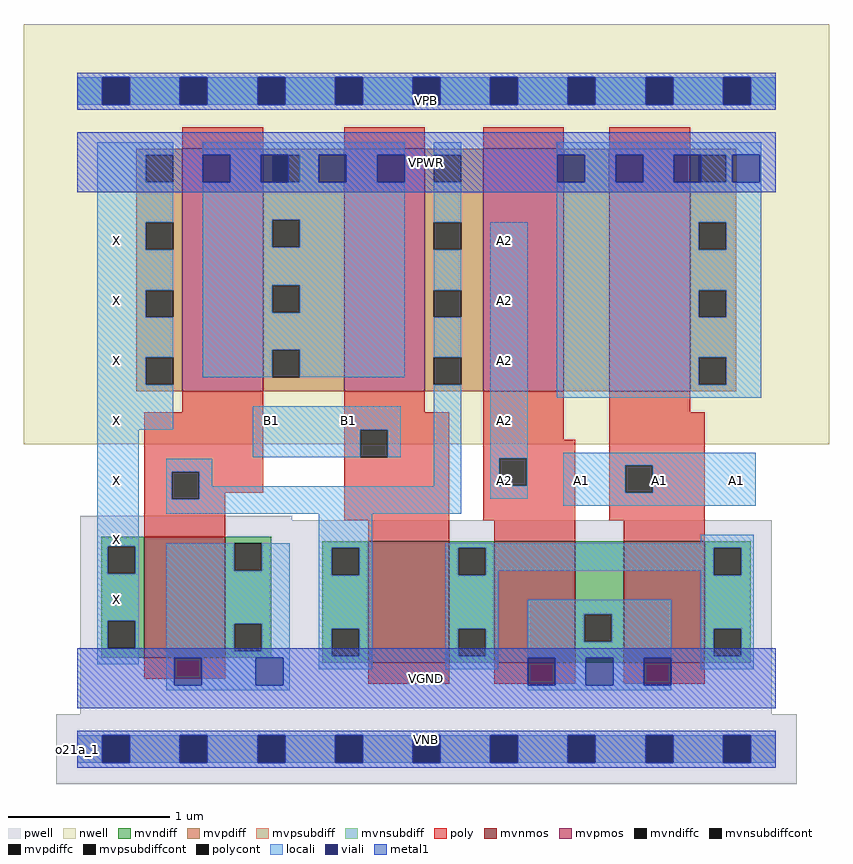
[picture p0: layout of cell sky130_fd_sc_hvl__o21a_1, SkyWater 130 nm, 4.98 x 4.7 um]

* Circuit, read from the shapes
.subckt sky130_fd_sc_hvl__o21a_1 A1 A2 B1 VGND VNB VPB VPWR X
XM1 VGND n1 X VNB sky130_fd_pr__nfet_g5v0d10v5 w=0.75 l=0.5
XM2 n2 B1 n1 VNB sky130_fd_pr__nfet_g5v0d10v5 w=0.75 l=0.5
XM3 VGND A2 n2 VNB sky130_fd_pr__nfet_g5v0d10v5 w=0.75 l=0.5
XM4 n2 A1 VGND VNB sky130_fd_pr__nfet_g5v0d10v5 w=0.75 l=0.5
XM5 VPWR n1 X VPB sky130_fd_pr__pfet_g5v0d10v5 w=1.5 l=0.5
XM6 n1 B1 VPWR VPB sky130_fd_pr__pfet_g5v0d10v5 w=1.5 l=0.5
XM7 n3 A2 n1 VPB sky130_fd_pr__pfet_g5v0d10v5 w=1.5 l=0.5
XM8 VPWR A1 n3 VPB sky130_fd_pr__pfet_g5v0d10v5 w=1.5 l=0.5
.ends

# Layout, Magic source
magic
tech sky130B
magscale 1 2
<< nwell >>
rect -66 377 930 897
<< pwell >>
rect 4 283 266 289
rect 4 43 859 283
rect -26 -43 890 43
<< mvnmos >>
rect 83 113 183 263
rect 360 107 460 257
rect 516 107 616 257
rect 676 107 776 257
<< mvpmos >>
rect 130 443 230 743
rect 330 443 430 743
rect 502 443 602 743
rect 658 443 758 743
<< mvndiff >>
rect 30 251 83 263
rect 30 217 38 251
rect 72 217 83 251
rect 30 159 83 217
rect 30 125 38 159
rect 72 125 83 159
rect 30 113 83 125
rect 183 255 240 263
rect 183 221 194 255
rect 228 221 240 255
rect 183 155 240 221
rect 183 121 194 155
rect 228 121 240 155
rect 183 113 240 121
rect 303 249 360 257
rect 303 215 315 249
rect 349 215 360 249
rect 303 149 360 215
rect 303 115 315 149
rect 349 115 360 149
rect 303 107 360 115
rect 460 249 516 257
rect 460 215 471 249
rect 505 215 516 249
rect 460 149 516 215
rect 460 115 471 149
rect 505 115 516 149
rect 460 107 516 115
rect 616 167 676 257
rect 616 133 627 167
rect 661 133 676 167
rect 616 107 676 133
rect 776 249 833 257
rect 776 215 787 249
rect 821 215 833 249
rect 776 149 833 215
rect 776 115 787 149
rect 821 115 833 149
rect 776 107 833 115
<< mvpdiff >>
rect 73 735 130 743
rect 73 701 85 735
rect 119 701 130 735
rect 73 652 130 701
rect 73 618 85 652
rect 119 618 130 652
rect 73 568 130 618
rect 73 534 85 568
rect 119 534 130 568
rect 73 485 130 534
rect 73 451 85 485
rect 119 451 130 485
rect 73 443 130 451
rect 230 735 330 743
rect 230 701 241 735
rect 275 701 330 735
rect 230 655 330 701
rect 230 621 241 655
rect 275 621 330 655
rect 230 574 330 621
rect 230 540 241 574
rect 275 540 330 574
rect 230 494 330 540
rect 230 460 241 494
rect 275 460 330 494
rect 230 443 330 460
rect 430 735 502 743
rect 430 701 441 735
rect 475 701 502 735
rect 430 652 502 701
rect 430 618 441 652
rect 475 618 502 652
rect 430 568 502 618
rect 430 534 441 568
rect 475 534 502 568
rect 430 485 502 534
rect 430 451 441 485
rect 475 451 502 485
rect 430 443 502 451
rect 602 443 658 743
rect 758 735 815 743
rect 758 701 769 735
rect 803 701 815 735
rect 758 652 815 701
rect 758 618 769 652
rect 803 618 815 652
rect 758 568 815 618
rect 758 534 769 568
rect 803 534 815 568
rect 758 485 815 534
rect 758 451 769 485
rect 803 451 815 485
rect 758 443 815 451
<< mvndiffc >>
rect 38 217 72 251
rect 38 125 72 159
rect 194 221 228 255
rect 194 121 228 155
rect 315 215 349 249
rect 315 115 349 149
rect 471 215 505 249
rect 471 115 505 149
rect 627 133 661 167
rect 787 215 821 249
rect 787 115 821 149
<< mvpdiffc >>
rect 85 701 119 735
rect 85 618 119 652
rect 85 534 119 568
rect 85 451 119 485
rect 241 701 275 735
rect 241 621 275 655
rect 241 540 275 574
rect 241 460 275 494
rect 441 701 475 735
rect 441 618 475 652
rect 441 534 475 568
rect 441 451 475 485
rect 769 701 803 735
rect 769 618 803 652
rect 769 534 803 568
rect 769 451 803 485
<< mvpsubdiff >>
rect 0 -17 31 17
rect 65 -17 127 17
rect 161 -17 223 17
rect 257 -17 319 17
rect 353 -17 415 17
rect 449 -17 511 17
rect 545 -17 607 17
rect 641 -17 703 17
rect 737 -17 799 17
rect 833 -17 864 17
<< mvnsubdiff >>
rect 0 797 31 831
rect 65 797 127 831
rect 161 797 223 831
rect 257 797 319 831
rect 353 797 415 831
rect 449 797 511 831
rect 545 797 607 831
rect 641 797 703 831
rect 737 797 799 831
rect 833 797 864 831
<< mvpsubdiffcont >>
rect 31 -17 65 17
rect 127 -17 161 17
rect 223 -17 257 17
rect 319 -17 353 17
rect 415 -17 449 17
rect 511 -17 545 17
rect 607 -17 641 17
rect 703 -17 737 17
rect 799 -17 833 17
<< mvnsubdiffcont >>
rect 31 797 65 831
rect 127 797 161 831
rect 223 797 257 831
rect 319 797 353 831
rect 415 797 449 831
rect 511 797 545 831
rect 607 797 641 831
rect 703 797 737 831
rect 799 797 833 831
<< poly >>
rect 130 743 230 769
rect 330 743 430 769
rect 502 743 602 769
rect 658 743 758 769
rect 130 417 230 443
rect 83 343 230 417
rect 83 309 117 343
rect 151 317 230 343
rect 330 417 430 443
rect 330 395 460 417
rect 330 361 350 395
rect 384 361 460 395
rect 151 309 183 317
rect 83 263 183 309
rect 330 283 460 361
rect 502 383 602 443
rect 658 417 758 443
rect 502 360 616 383
rect 502 326 522 360
rect 556 326 616 360
rect 502 283 616 326
rect 658 351 776 417
rect 658 317 678 351
rect 712 317 776 351
rect 658 283 776 317
rect 360 257 460 283
rect 516 257 616 283
rect 676 257 776 283
rect 83 87 183 113
rect 360 81 460 107
rect 516 81 616 107
rect 676 81 776 107
<< polycont >>
rect 117 309 151 343
rect 350 361 384 395
rect 522 326 556 360
rect 678 317 712 351
<< locali >>
rect 0 797 31 831
rect 65 797 127 831
rect 161 797 223 831
rect 257 797 319 831
rect 353 797 415 831
rect 449 797 511 831
rect 545 797 607 831
rect 641 797 703 831
rect 737 797 799 831
rect 833 797 864 831
rect 25 735 119 751
rect 25 701 85 735
rect 25 652 119 701
rect 25 618 85 652
rect 25 568 119 618
rect 25 534 85 568
rect 25 485 119 534
rect 25 451 85 485
rect 155 735 405 751
rect 189 701 227 735
rect 275 701 299 735
rect 333 701 371 735
rect 155 655 405 701
rect 155 621 241 655
rect 275 621 405 655
rect 155 574 405 621
rect 155 540 241 574
rect 275 540 405 574
rect 155 494 405 540
rect 155 460 241 494
rect 275 460 405 494
rect 441 735 475 751
rect 441 652 475 701
rect 593 735 846 751
rect 593 701 594 735
rect 628 701 666 735
rect 700 701 738 735
rect 803 701 810 735
rect 844 701 846 735
rect 593 652 846 701
rect 441 568 475 618
rect 441 485 475 534
rect 25 395 119 451
rect 217 395 400 424
rect 25 251 76 395
rect 217 361 350 395
rect 384 361 400 395
rect 110 343 167 359
rect 110 309 117 343
rect 151 325 167 343
rect 441 325 475 451
rect 151 309 475 325
rect 511 360 557 652
rect 593 618 769 652
rect 803 618 846 652
rect 593 568 846 618
rect 593 534 769 568
rect 803 534 846 568
rect 593 485 846 534
rect 593 451 769 485
rect 803 451 846 485
rect 593 435 846 451
rect 511 326 522 360
rect 556 326 557 360
rect 511 310 557 326
rect 601 351 839 367
rect 601 317 678 351
rect 712 317 839 351
rect 110 291 475 309
rect 601 301 839 317
rect 25 217 38 251
rect 72 217 76 251
rect 25 159 76 217
rect 25 125 38 159
rect 72 125 76 159
rect 25 105 76 125
rect 110 221 194 255
rect 228 221 263 255
rect 110 155 263 221
rect 110 121 194 155
rect 228 121 263 155
rect 110 113 263 121
rect 110 79 120 113
rect 154 79 221 113
rect 255 79 263 113
rect 299 249 365 291
rect 771 255 837 265
rect 299 215 315 249
rect 349 215 365 249
rect 299 149 365 215
rect 299 115 315 149
rect 349 115 365 149
rect 299 99 365 115
rect 455 249 837 255
rect 455 215 471 249
rect 505 221 787 249
rect 505 215 521 221
rect 455 149 521 215
rect 771 215 787 221
rect 821 215 837 249
rect 455 115 471 149
rect 505 115 521 149
rect 455 99 521 115
rect 557 167 735 185
rect 557 133 627 167
rect 661 133 735 167
rect 557 113 735 133
rect 110 73 263 79
rect 591 79 629 113
rect 663 79 701 113
rect 771 149 837 215
rect 771 115 787 149
rect 821 115 837 149
rect 771 99 837 115
rect 557 73 735 79
rect 0 -17 31 17
rect 65 -17 127 17
rect 161 -17 223 17
rect 257 -17 319 17
rect 353 -17 415 17
rect 449 -17 511 17
rect 545 -17 607 17
rect 641 -17 703 17
rect 737 -17 799 17
rect 833 -17 864 17
<< viali >>
rect 31 797 65 831
rect 127 797 161 831
rect 223 797 257 831
rect 319 797 353 831
rect 415 797 449 831
rect 511 797 545 831
rect 607 797 641 831
rect 703 797 737 831
rect 799 797 833 831
rect 155 701 189 735
rect 227 701 241 735
rect 241 701 261 735
rect 299 701 333 735
rect 371 701 405 735
rect 594 701 628 735
rect 666 701 700 735
rect 738 701 769 735
rect 769 701 772 735
rect 810 701 844 735
rect 120 79 154 113
rect 221 79 255 113
rect 557 79 591 113
rect 629 79 663 113
rect 701 79 735 113
rect 31 -17 65 17
rect 127 -17 161 17
rect 223 -17 257 17
rect 319 -17 353 17
rect 415 -17 449 17
rect 511 -17 545 17
rect 607 -17 641 17
rect 703 -17 737 17
rect 799 -17 833 17
<< metal1 >>
rect 0 831 864 837
rect 0 797 31 831
rect 65 797 127 831
rect 161 797 223 831
rect 257 797 319 831
rect 353 797 415 831
rect 449 797 511 831
rect 545 797 607 831
rect 641 797 703 831
rect 737 797 799 831
rect 833 797 864 831
rect 0 791 864 797
rect 0 735 864 763
rect 0 701 155 735
rect 189 701 227 735
rect 261 701 299 735
rect 333 701 371 735
rect 405 701 594 735
rect 628 701 666 735
rect 700 701 738 735
rect 772 701 810 735
rect 844 701 864 735
rect 0 689 864 701
rect 0 113 864 125
rect 0 79 120 113
rect 154 79 221 113
rect 255 79 557 113
rect 591 79 629 113
rect 663 79 701 113
rect 735 79 864 113
rect 0 51 864 79
rect 0 17 864 23
rect 0 -17 31 17
rect 65 -17 127 17
rect 161 -17 223 17
rect 257 -17 319 17
rect 353 -17 415 17
rect 449 -17 511 17
rect 545 -17 607 17
rect 641 -17 703 17
rect 737 -17 799 17
rect 833 -17 864 17
rect 0 -23 864 -17
<< labels >>
rlabel comment s 0 0 0 0 4 o21a_1
flabel metal1 s 0 51 864 125 0 FreeSans 340 0 0 0 VGND
port 4 nsew ground bidirectional
flabel metal1 s 0 0 864 23 0 FreeSans 340 0 0 0 VNB
port 5 nsew ground bidirectional
flabel metal1 s 0 689 864 763 0 FreeSans 340 0 0 0 VPWR
port 7 nsew power bidirectional
flabel metal1 s 0 791 864 814 0 FreeSans 340 0 0 0 VPB
port 6 nsew power bidirectional
flabel locali s 607 316 641 350 0 FreeSans 340 0 0 0 A1
port 1 nsew signal input
flabel locali s 703 316 737 350 0 FreeSans 340 0 0 0 A1
port 1 nsew signal input
flabel locali s 799 316 833 350 0 FreeSans 340 0 0 0 A1
port 1 nsew signal input
flabel locali s 511 316 545 350 0 FreeSans 340 0 0 0 A2
port 2 nsew signal input
flabel locali s 511 390 545 424 0 FreeSans 340 0 0 0 A2
port 2 nsew signal input
flabel locali s 511 464 545 498 0 FreeSans 340 0 0 0 A2
port 2 nsew signal input
flabel locali s 511 538 545 572 0 FreeSans 340 0 0 0 A2
port 2 nsew signal input
flabel locali s 511 612 545 646 0 FreeSans 340 0 0 0 A2
port 2 nsew signal input
flabel locali s 223 390 257 424 0 FreeSans 340 0 0 0 B1
port 3 nsew signal input
flabel locali s 319 390 353 424 0 FreeSans 340 0 0 0 B1
port 3 nsew signal input
flabel locali s 31 168 65 202 0 FreeSans 340 0 0 0 X
port 8 nsew signal output
flabel locali s 31 242 65 276 0 FreeSans 340 0 0 0 X
port 8 nsew signal output
flabel locali s 31 316 65 350 0 FreeSans 340 0 0 0 X
port 8 nsew signal output
flabel locali s 31 390 65 424 0 FreeSans 340 0 0 0 X
port 8 nsew signal output
flabel locali s 31 464 65 498 0 FreeSans 340 0 0 0 X
port 8 nsew signal output
flabel locali s 31 538 65 572 0 FreeSans 340 0 0 0 X
port 8 nsew signal output
flabel locali s 31 612 65 646 0 FreeSans 340 0 0 0 X
port 8 nsew signal output
<< properties >>
string FIXED_BBOX 0 0 864 814
string GDS_END 179726
string GDS_FILE $PDKPATH/libs.ref/sky130_fd_sc_hvl/gds/sky130_fd_sc_hvl.gds
string GDS_START 167972
string LEFclass CORE
string LEFsite unithv
string LEFsymmetry X Y
<< end >>
